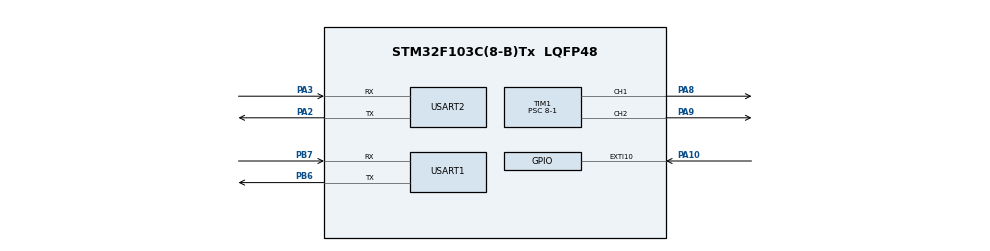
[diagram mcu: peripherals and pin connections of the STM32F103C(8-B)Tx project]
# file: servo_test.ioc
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Mcu.Family=STM32F1
Mcu.Name=STM32F103C(8-B)Tx
Mcu.Package=LQFP48
NVIC.EXTI15_10_IRQn=true\:0\:0\:false\:false\:true\:true\:true
NVIC.PriorityGroup=NVIC_PRIORITYGROUP_4
NVIC.USART1_IRQn=true\:0\:0\:true\:false\:true\:true\:true
NVIC.USART2_IRQn=true\:0\:0\:true\:false\:true\:true\:true
PA10.GPIO_ModeDefaultEXTI=GPIO_MODE_IT_FALLING
PA10.GPIO_PuPd=GPIO_PULLUP
PA10.Signal=GPXTI10
PA2.Mode=Asynchronous
PA2.Signal=USART2_TX
PA3.Mode=Asynchronous
PA3.Signal=USART2_RX
PA8.Signal=S_TIM1_CH1
PA9.Signal=S_TIM1_CH2
PB6.Mode=Asynchronous
PB6.Signal=USART1_TX
PB7.Mode=Asynchronous
PB7.Signal=USART1_RX
ProjectManager.HeapSize=0x200
ProjectManager.StackSize=0x400
ProjectManager.TargetToolchain=MDK-ARM V5.27
RCC.APB1Freq_Value=8000000
RCC.APB2Freq_Value=8000000
SH.S_TIM1_CH1.0=TIM1_CH1,PWM Generation1 CH1
SH.S_TIM1_CH2.0=TIM1_CH2,PWM Generation2 CH2
TIM1.AutoReloadPreload=TIM_AUTORELOAD_PRELOAD_ENABLE
TIM1.Channel-PWM\ Generation1\ CH1=TIM_CHANNEL_1
TIM1.Channel-PWM\ Generation2\ CH2=TIM_CHANNEL_2
TIM1.Period=20000-1
TIM1.Prescaler=8-1
USART1.VirtualMode=VM_ASYNC
USART2.VirtualMode=VM_ASYNC
VP_SYS_VS_ND.Mode=No_Debug
VP_TIM1_VS_ClockSourceINT.Mode=Internal
board=custom

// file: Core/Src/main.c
/* USER CODE BEGIN Header */
/**
  ******************************************************************************
  * @file           : main.c
  * @brief          : Main program body
  ******************************************************************************
  * @attention
  *
  * <h2><center>&copy; Copyright (c) 2021 STMicroelectronics.
  * All rights reserved.</center></h2>
  *
  * This software component is licensed by ST under BSD 3-Clause license,
  * the "License"; You may not use this file except in compliance with the
  * License. You may obtain a copy of the License at:
  *                        opensource.org/licenses/BSD-3-Clause
  *
  ******************************************************************************
  */
/* USER CODE END Header */
#include "main.h"
#include "tim.h"
#include "usart.h"
#include "gpio.h"

/* USER CODE BEGIN PV */
uint8_t UART1_RxBuffer;
uint8_t buffer1[4] = "\0";
uint16_t Real;
/* USER CODE END PV */

void SystemClock_Config(void);

/* USER CODE BEGIN 0 */
/**
  * @brief  串口调试
  * @retval None
  */
#include "stdio.h"
#define DEBUG
#ifdef DEBUG
#define DBG(format, ...) fprintf(stdout, "[\tDBG](File:%s, Func:%s(), Line:%d): " \
                                , __FILE__, __FUNCTION__, __LINE__);             \
                         fprintf(stdout, format"\r\n", ##__VA_ARGS__)
#else
#define DBG(format, ...)  do {} while (0)
#endif

int fputc(int ch, FILE *f){
    uint8_t temp[1] = {ch};
    HAL_UART_Transmit(&huart2, temp, 1, 2);//huart1 根据配置修改
    return ch;
}
/* USER CODE END 0 */

int main(void)
{

  /* MCU Configuration--------------------------------------------------------*/

  /* Reset of all peripherals, Initializes the Flash interface and the Systick. */
  HAL_Init();

  /* Configure the system clock */
  SystemClock_Config();

  /* Initialize all configured peripherals */
  MX_GPIO_Init();
  MX_TIM1_Init();
  MX_USART1_UART_Init();
  MX_USART2_UART_Init();
  /* USER CODE BEGIN 2 */
  HAL_TIM_PWM_Start(&htim1, TIM_CHANNEL_1); //开启PWM
	HAL_TIM_PWM_Start(&htim1, TIM_CHANNEL_2);

  //HAL_UART_Receive_IT(&huart1, (uint8_t*)&UART1_RxBuffer, 1);

  //HAL_Delay(1000);
  /* USER CODE END 2 */

  /* Infinite loop */
  /* USER CODE BEGIN WHILE */
  while (1)
  {
    __HAL_TIM_SET_COMPARE(&htim1, TIM_CHANNEL_1, 1000);
    HAL_Delay(1000);
    __HAL_TIM_SET_COMPARE(&htim1, TIM_CHANNEL_1, 2000);
    HAL_Delay(1000);
    //__HAL_TIM_SET_COMPARE(&htim1, TIM_CHANNEL_1, Real);
    /* USER CODE END WHILE */

  }
}

void SystemClock_Config(void)
{
  RCC_OscInitTypeDef RCC_OscInitStruct = {0};
  RCC_ClkInitTypeDef RCC_ClkInitStruct = {0};

  /** Initializes the RCC Oscillators according to the specified parameters
  * in the RCC_OscInitTypeDef structure.
  */
  RCC_OscInitStruct.OscillatorType = RCC_OSCILLATORTYPE_HSI;
  RCC_OscInitStruct.HSIState = RCC_HSI_ON;
  RCC_OscInitStruct.HSICalibrationValue = RCC_HSICALIBRATION_DEFAULT;
  RCC_OscInitStruct.PLL.PLLState = RCC_PLL_NONE;
  if (HAL_RCC_OscConfig(&RCC_OscInitStruct) != HAL_OK)
  {
    Error_Handler();
  }
  /** Initializes the CPU, AHB and APB buses clocks
  */
  RCC_ClkInitStruct.ClockType = RCC_CLOCKTYPE_HCLK|RCC_CLOCKTYPE_SYSCLK
                              |RCC_CLOCKTYPE_PCLK1|RCC_CLOCKTYPE_PCLK2;
  RCC_ClkInitStruct.SYSCLKSource = RCC_SYSCLKSOURCE_HSI;
  RCC_ClkInitStruct.AHBCLKDivider = RCC_SYSCLK_DIV1;
  RCC_ClkInitStruct.APB1CLKDivider = RCC_HCLK_DIV1;
  RCC_ClkInitStruct.APB2CLKDivider = RCC_HCLK_DIV1;

  if (HAL_RCC_ClockConfig(&RCC_ClkInitStruct, FLASH_LATENCY_0) != HAL_OK)
  {
    Error_Handler();
  }
}

/* USER CODE BEGIN 4 */
void HAL_UART_RxCpltCallback(UART_HandleTypeDef *huart)
{
   static uint8_t count = 0;
  if(huart -> Instance == USART1)
  {
    if((count == 0) && (UART1_RxBuffer == 0xff))
    {
      count++;
      buffer1[0] = UART1_RxBuffer;
    }
    else if((count == 1) && (UART1_RxBuffer < 0xff))
    {
      buffer1[1] = UART1_RxBuffer;
      count++;
    }
    else if((count == 2) && (UART1_RxBuffer <= 0xff))
    {
      buffer1[2] = UART1_RxBuffer;
      count++;
    }
    else if((count == 3) && (UART1_RxBuffer == 0xfe))
    {
      count = 0;
      buffer1[3] = UART1_RxBuffer;
      Real = (buffer1[1] << 8) | buffer1[2];
      //DBG("hello!\r\n");
    }
    else
       count = 0;
    HAL_UART_Receive_IT(&huart1, &UART1_RxBuffer, 1);
  }
}
/* USER CODE END 4 */

void Error_Handler(void)
{
}

/************************ (C) COPYRIGHT STMicroelectronics *****END OF FILE****/
